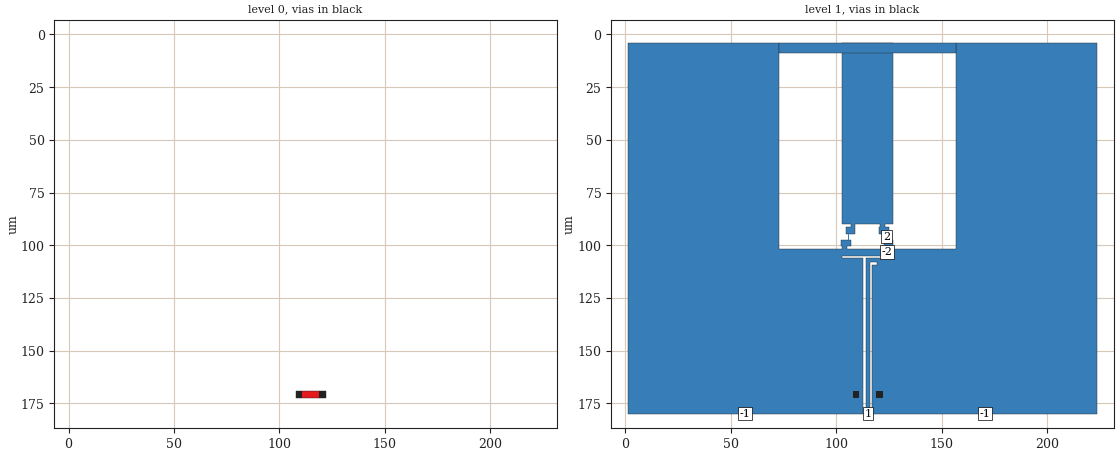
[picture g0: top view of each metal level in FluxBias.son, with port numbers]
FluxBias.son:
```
FTYP SONPROJ 15 ! Sonnet Project File
VER 16.52
HEADER
LIC calt2.2.43068 b6ae2bd1257f DESKTOP-SL82IK9 Michael
DAT 07/19/2016 15:46:43
BUILT_BY_CREATED xgeom 16.52 04/11/2016 14:48:12
BUILT_BY_SAVED xgeom 16.52
MDATE 07/19/2016 15:41:12
HDATE 07/19/2016 15:41:12
END HEADER
DIM
FREQ GHZ
IND NH
LNG UM
ANG DEG
CON /OH
CAP PF
RES OH
END DIM
FREQ
ABS 5.0 26.0 
STEP 0.1
END FREQ
CONTROL
STD
OPTIONS  -d 
SPEED 0
CACHE_ABS 1
TARG_ABS 300
Q_ACC N
END CONTROL
GEO
DRP1 RIGHT FIX 100
TMET "Lossless" 0 SUP 0 0 0 0
BMET "Lossless" 0 SUP 0 0 0 0
MET "Unknown_metal" 1 NOR INF 0 0 
BOX 2 225 180 1800 1440 20 0
      1000 1 1 0 0 0 0 "Unnamed"
      1 1 1 0 0 0 0 "Unnamed"
      500 11.9 1 5e-006 0 0 0 "Silicon (intrinsic)"
VALVAR viaDist NONE 60 "Dim. Param."
LORGN 0 180 U 
POR1 STD
POLY 1922 1
188
1 50 0 0 0 115 180 
POR1 STD
POLY 1922 1
351
-1 50 0 0 0 170.6 180 
POR1 STD
POLY 1922 1
22
-1 50 0 0 0 56.9 180 
POR1 CUP A
POLY 1942 1
2
2 50 0 0 0 124.0000097 95.75 
POR1 CUP A
POLY 1944 1
0
-2 50 0 0 0 124.0000097 96 
CUPGRP "A"
ID 1949
GNDREF B
TWTYPE FEED
END
NUM 9
0 5 -1 N 1930 1 1 100 100 0 0 0 Y
108 169.3
122 169.3
122 172.3
108 172.3
108 169.3
END
1 21 -1 N 1921 1 1 100 100 0 0 0 Y
125.15 91.5
123 91.5
123 90
127 90
127 4
103 4
103 90
107 90
107 91.5
104.49 91.5
104.49 94.5
109.15 94.5
109.15 91.5
109 91.5
109 90
121 90
121 91.5
120.49 91.5
120.49 94.5
125.15 94.5
125.15 91.5
END
1 354 -1 N 1922 1 1 100 100 0 0 0 Y
224 4
157 4
157 101.9
127 101.9
127 100.4
127.15 100.4
127.15 97.4
122.49 97.4
122.49 100.4
125 100.4
125 101.9
105 101.9
105 100.4
107.15 100.4
107.15 97.4
102.49 97.4
102.49 100.4
103 100.4
103 101.9
73 101.9
73 4
1 4
1 180
112.8 180
112.8 179.9
112.8 178.99
112.8 178.09
112.8 177.18
112.8 176.28
112.8 175.37
112.8 174.47
112.8 173.56
112.8 172.66
112.8 171.75
112.8 170.85
112.8 169.94
112.8 169.04
112.8 168.13
112.8 167.23
112.8 166.32
112.8 165.42
112.8 164.51
112.8 163.61
112.8 162.7
112.8 161.8
112.8 160.89
112.8 159.99
112.8 159.08
112.8 158.18
112.8 157.27
112.8 156.37
112.8 155.46
112.8 154.55
112.8 153.65
112.8 152.75
112.8 151.84
112.8 150.93
112.8 150.03
112.8 149.12
112.8 148.22
112.8 147.31
112.8 146.41
112.8 145.5
112.8 144.6
112.8 143.69
112.8 142.79
112.8 141.88
112.8 140.98
112.8 140.07
112.8 139.17
112.8 138.26
112.8 137.36
112.8 136.45
112.8 135.55
112.8 134.64
112.8 133.74
112.8 132.83
112.8 131.93
112.8 131.02
112.8 130.12
112.8 129.21
112.8 128.31
112.8 127.4
112.8 126.5
112.8 125.59
112.8 124.69
112.8 123.78
112.8 122.88
112.8 121.97
112.8 121.07
112.8 120.16
112.8 119.26
112.8 118.35
112.8 117.45
112.8 116.54
112.8 115.64
112.8 114.73
112.8 113.83
112.8 112.92
112.8 112.01
112.8 111.11
112.8 110.2
112.8 109.3
112.8 106.1
102.8 106.1
102.8 104.9
127.2 104.9
127.2 106.1
114 106.1
114 109.3
114 110.21
114 111.11
114 112.01
114 112.92
114 113.83
114 114.73
114 115.64
114 116.54
114 117.45
114 118.35
114 119.26
114 120.16
114 121.07
114 121.97
114 122.88
114 123.78
114 124.69
114 125.59
114 126.5
114 127.4
114 128.31
114 129.21
114 130.12
114 131.02
114 131.93
114 132.83
114 133.74
114 134.64
114 135.55
114 136.45
114 137.36
114 138.26
114 139.17
114 140.07
114 140.98
114 141.88
114 142.79
114 143.69
114 144.6
114 145.5
114 146.41
114 147.31
114 148.22
114 149.12
114 150.03
114 150.93
114 151.84
114 152.75
114 153.65
114 154.55
114 155.46
114 156.37
114 157.27
114 158.18
114 159.08
114 159.99
114 160.89
114 161.8
114 162.7
114 163.61
114 164.51
114 165.42
114 166.32
114 167.23
114 168.13
114 169.04
114 169.94
114 170.85
114 171.75
114 172.66
114 173.56
114 174.47
114 175.37
114 176.28
114 177.18
114 178.09
114 178.99
114 179.9
114 180
116 180
116 179.9
116 178.99
116 178.09
116 177.18
116 176.28
116 175.37
116 174.47
116 173.56
116 172.66
116 171.75
116 170.85
116 169.94
116 169.04
116 168.13
116 167.23
116 166.32
116 165.42
116 164.51
116 163.61
116 162.7
116 161.8
116 160.89
116 159.99
116 159.08
116 158.18
116 157.27
116 156.36
116 155.46
116 154.55
116 153.65
116 152.74
116 151.84
116 150.94
116 150.03
116 149.12
116 148.22
116 147.31
116 146.41
116 145.5
116 144.6
116 143.69
116 142.79
116 141.88
116 140.98
116 140.07
116 139.17
116 138.26
116 137.36
116 136.45
116 135.55
116 134.64
116 133.74
116 132.83
116 131.93
116 131.02
116 130.12
116 129.21
116 128.31
116 127.4
116 126.5
116 125.59
116 124.69
116 123.78
116 122.88
116 121.97
116 121.07
116 120.16
116 119.26
116 118.35
116 117.45
116 116.54
116 115.64
116 114.73
116 113.83
116 112.92
116 112.01
116 111.11
116 110.21
116 109.3
116 108.1
119.2 108.1
119.2 109.3
117.2 109.3
117.2 110.21
117.2 111.11
117.2 112.02
117.2 112.92
117.2 113.83
117.2 114.73
117.2 115.64
117.2 116.54
117.2 117.45
117.2 118.35
117.2 119.26
117.2 120.16
117.2 121.07
117.2 121.97
117.2 122.88
117.2 123.78
117.2 124.69
117.2 125.59
117.2 126.5
117.2 127.4
117.2 128.31
117.2 129.21
117.2 130.12
117.2 131.02
117.2 131.93
117.2 132.83
117.2 133.74
117.2 134.64
117.2 135.55
117.2 136.45
117.2 137.36
117.2 138.26
117.2 139.17
117.2 140.07
117.2 140.98
117.2 141.88
117.2 142.79
117.2 143.69
117.2 144.6
117.2 145.5
117.2 146.41
117.2 147.31
117.2 148.22
117.2 149.12
117.2 150.03
117.2 150.93
117.2 151.84
117.2 152.74
117.2 153.65
117.2 154.56
117.2 155.46
117.2 156.36
117.2 157.27
117.2 158.18
117.2 159.08
117.2 159.99
117.2 160.89
117.2 161.8
117.2 162.7
117.2 163.61
117.2 164.51
117.2 165.42
117.2 166.32
117.2 167.23
117.2 168.13
117.2 169.04
117.2 169.94
117.2 170.85
117.2 171.75
117.2 172.66
117.2 173.56
117.2 174.47
117.2 175.37
117.2 176.28
117.2 177.18
117.2 178.09
117.2 178.99
117.2 179.9
117.2 180
224 180
224 4
END
1 5 -1 N 1923 1 1 100 100 0 0 0 Y
73 4
157 4
157 9
73 9
73 4
END
VIA POLYGON
1 5 -1 N 1926 1 1 100 100 0 0 0 Y
TOLEVEL 0 RING NOCOVERS
108 169.3
111 169.3
111 172.3
108 172.3
108 169.3
END
VIA POLYGON
1 5 -1 N 1928 1 1 100 100 0 0 0 Y
TOLEVEL 0 RING NOCOVERS
119 169.3
122 169.3
122 172.3
119 172.3
119 169.3
END
1 5 -1 N 1936 1 1 100 100 0 0 0 Y
105.7500358 94.5
106.2500672 94.5
106.2500672 97.4
105.7500358 97.4
105.7500358 94.5
END
1 5 -1 N 1942 1 1 100 100 0 0 0 Y
124.2499835 94.5
123.7500358 94.5
123.7500358 95.75
124.2499835 95.75
124.2499835 94.5
END
1 5 -1 N 1944 1 1 100 100 0 0 0 Y
124.2499835 96
123.7500358 96
123.7500358 97.4
124.2499835 97.4
124.2499835 96
END
END GEO
OPT
MAX 100
VARS
VAR viaDist N UNDEF UNDEF UNDEF
END
END OPT
VARSWP
END VARSWP
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```
